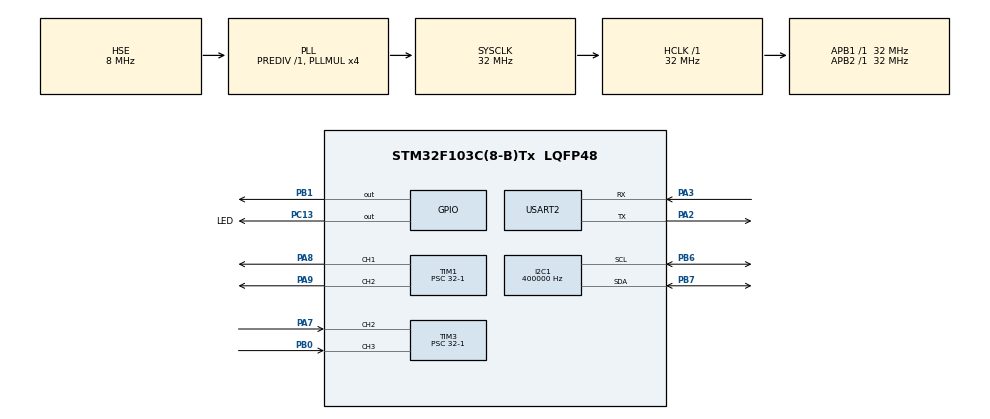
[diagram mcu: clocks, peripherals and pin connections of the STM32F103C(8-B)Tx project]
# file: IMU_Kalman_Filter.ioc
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Mcu.Family=STM32F1
RCC.PLLSourceVirtual=RCC_PLLSOURCE_HSE
PD1-OSC_OUT.Mode=HSE-External-Oscillator
TIM3.Channel-Input_Capture2_from_TI2=TIM_CHANNEL_2
PC13-TAMPER-RTC.Signal=GPIO_Output
PD0-OSC_IN.Signal=RCC_OSC_IN
SH.S_TIM3_CH3.0=TIM3_CH3,Input_Capture3_from_TI3
RCC.SYSCLKSource=RCC_SYSCLKSOURCE_PLLCLK
ProjectManager.StackSize=0x400
PD1-OSC_OUT.Signal=RCC_OSC_OUT
PA13.Signal=SYS_JTMS-SWDIO
PA3.Mode=Asynchronous
TIM3.Channel-Input_Capture3_from_TI3=TIM_CHANNEL_3
TIM1.Prescaler=32-1
SH.S_TIM1_CH1.0=TIM1_CH1,PWM Generation1 CH1
I2C1.ClockSpeed=400000
ProjectManager.TargetToolchain=STM32CubeIDE
I2C1.I2C_Mode=I2C_Fast
RCC.HCLKFreq_Value=32000000
RCC.APB2TimFreq_Value=32000000
TIM3.Period=0xffff
PA9.Signal=S_TIM1_CH2
PB6.Signal=I2C1_SCL
TIM1.Channel-PWM\ Generation2\ CH2=TIM_CHANNEL_2
PB6.Mode=I2C
RCC.USBFreq_Value=32000000
RCC.AHBFreq_Value=32000000
PD0-OSC_IN.Mode=HSE-External-Oscillator
SH.S_TIM3_CH2.1=TIM3_CH2,Input_Capture2_from_TI2
SH.S_TIM3_CH2.0=TIM3_CH2,TriggerSource_TI2FP2
board=custom
PC13-TAMPER-RTC.GPIO_Label=LED
RCC.PLLMUL=RCC_PLL_MUL4
NVIC.TIM3_IRQn=true\:0\:0\:false\:false\:true\:true\:true
RCC.APB2Freq_Value=32000000
SH.S_TIM1_CH2.0=TIM1_CH2,PWM Generation2 CH2
VP_TIM2_VS_ClockSourceINT.Mode=Internal
TIM1.Channel-PWM\ Generation1\ CH1=TIM_CHANNEL_1
PA14.Mode=Serial_Wire
TIM3.Prescaler=32-1
NVIC.TIM2_IRQn=true\:0\:0\:false\:false\:true\:true\:true
TIM3.ICPolarity_CH2=TIM_INPUTCHANNELPOLARITY_RISING
TIM3.ICPolarity_CH3=TIM_INPUTCHANNELPOLARITY_FALLING
PB7.Signal=I2C1_SDA
PA8.Signal=S_TIM1_CH1
TIM2.Period=1000
PA13.Mode=Serial_Wire
Mcu.Name=STM32F103C(8-B)Tx
PA2.Signal=USART2_TX
RCC.SYSCLKFreq_VALUE=32000000
Mcu.Package=LQFP48
TIM2.Prescaler=32-1
PB1.Signal=GPIO_Output
USART2.VirtualMode=VM_ASYNC
PB7.Mode=I2C
PA14.Signal=SYS_JTCK-SWCLK
ProjectManager.HeapSize=0x200
NVIC.PriorityGroup=NVIC_PRIORITYGROUP_4
RCC.APB1TimFreq_Value=32000000
TIM3.ICFilter_CH3=0
PA2.Mode=Asynchronous
TIM3.ICFilter_CH2=0
TIM1.Period=20000-1
VP_TIM3_VS_ControllerModeReset.Mode=Reset Mode
RCC.APB1Freq_Value=32000000
PB0.Signal=S_TIM3_CH3
PA3.Signal=USART2_RX
PA7.Signal=S_TIM3_CH2

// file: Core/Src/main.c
/* USER CODE BEGIN Header */
/**
  ******************************************************************************
  * @file           : main.c
  * @brief          : Main program body
  ******************************************************************************
  * @attention
  *
  * <h2><center>&copy; Copyright (c) 2021 STMicroelectronics.
  * All rights reserved.</center></h2>
  *
  * This software component is licensed by ST under BSD 3-Clause license,
  * the "License"; You may not use this file except in compliance with the
  * License. You may obtain a copy of the License at:
  *                        opensource.org/licenses/BSD-3-Clause
  *
  ******************************************************************************
  */
/* USER CODE END Header */
#include "main.h"

/* USER CODE BEGIN Includes */
#include<math.h>
#include "string.h"
#include <stdio.h>

/* USER CODE END Includes */

/* USER CODE BEGIN PM */
#define MPU6050 (0x68<<1)
#define MPU6050_POW_REG 0x6b
#define GYRO_CONF_REG 0x1b
#define ACC_CONF_REG 0x1c
#define GYRO_X_ADDR 0x43
#define GYRO_Y_ADDR 0x45
#define GYRO_Z_ADDR 0x47
#define ACC_X_ADDR 0x3B
#define ACC_Y_ADDR 0x3D
#define ACC_Z_ADDR 0x3F

#define I2C_READ 0x01

#define PWM_UPPER 1800
#define PWM_LOWER 1050

/* USER CODE END PM */

I2C_HandleTypeDef hi2c1;

TIM_HandleTypeDef htim1;
TIM_HandleTypeDef htim2;
TIM_HandleTypeDef htim3;

UART_HandleTypeDef huart2;

/* USER CODE BEGIN PV */
float gyroX, gyroY, gyroZ, gyro_e_x, gyroX_a,gyroX_a_x, accX, accY, accZ;
float pitch_acc;
float gyroa_x, gyroa_y, gyroa_z;
float alpha, bias;
float alpha_des;
float S11_m, S12_m, S21_m, S22_m;
float S11_p, S12_p, S21_p, S22_p;
float Kt11, Kt21;
float sa = 0.001; float sb = 0.001;
float Q = 0.5; //0.5 -- onceki deger.
float e, e_eski; //PID hatalari

const float st = 0.001;
//PD Katsayilari
float Kp = 4;
float Kd =  1.2/st;
int timer;
uint16_t IC_val1, IC_val2, pwm_input;
uint16_t pwm1, pwm2;
uint16_t pwm_mid = 1200;
char buf[32];

/* USER CODE END PV */

void SystemClock_Config(void);
static void MX_GPIO_Init(void);
static void MX_I2C1_Init(void);
static void MX_TIM2_Init(void);
static void MX_TIM1_Init(void);
static void MX_TIM3_Init(void);
static void MX_USART2_UART_Init(void);
/* USER CODE BEGIN PFP */
void MPU6050_Baslat(void);
int16_t GyroOku (uint8_t addr);
float GyroErr(uint8_t addr);
void Kalman_Filtresi(void);
void PWMYaz(uint16_t pwm1, uint16_t pwm2);
void PD(float alpha_des, float alpha);
uint16_t Sat(uint16_t pwm);
float pwm2ang(uint16_t pwm);
void MotorBaslat(void);

/* USER CODE END PFP */

int main(void)
{

  /* MCU Configuration--------------------------------------------------------*/

  /* Reset of all peripherals, Initializes the Flash interface and the Systick. */
  HAL_Init();

  /* Configure the system clock */
  SystemClock_Config();

  /* Initialize all configured peripherals */
  MX_GPIO_Init();
  MX_I2C1_Init();
  MX_TIM2_Init();
  MX_TIM1_Init();
  MX_TIM3_Init();
  MX_USART2_UART_Init();
  /* USER CODE BEGIN 2 */

  MPU6050_Baslat();
  //Gyro kalibrasyon hatalarını hesapla.
  gyro_e_x = GyroErr(GYRO_X_ADDR);

  //Kontrolcü Timer'ı
  HAL_TIM_Base_Start_IT(&htim2);

  //PWM çıkış timer'ları
  HAL_TIM_PWM_Start(&htim1, TIM_CHANNEL_1);
  HAL_TIM_PWM_Start(&htim1, TIM_CHANNEL_2);

  //PWM Input Capture Kanalları
  HAL_TIM_IC_Start_IT(&htim3, TIM_CHANNEL_2);
  HAL_TIM_IC_Start_IT(&htim3, TIM_CHANNEL_3);

  MotorBaslat();
  /* USER CODE END 2 */

  /* Infinite loop */
  /* USER CODE BEGIN WHILE */
  while (1)
  {

	 // sprintf(buf,"%.3f||%.3f \n\r",alpha,pitch_acc);
	 // HAL_UART_Transmit(&huart2, (uint8_t*)buf, strlen(buf), 1000);
	  PWMYaz(pwm1, pwm2);
	  HAL_Delay(1);

    /* USER CODE END WHILE */

  }
}

void SystemClock_Config(void)
{
  RCC_OscInitTypeDef RCC_OscInitStruct = {0};
  RCC_ClkInitTypeDef RCC_ClkInitStruct = {0};

  /** Initializes the RCC Oscillators according to the specified parameters
  * in the RCC_OscInitTypeDef structure.
  */
  RCC_OscInitStruct.OscillatorType = RCC_OSCILLATORTYPE_HSE;
  RCC_OscInitStruct.HSEState = RCC_HSE_ON;
  RCC_OscInitStruct.HSEPredivValue = RCC_HSE_PREDIV_DIV1;
  RCC_OscInitStruct.HSIState = RCC_HSI_ON;
  RCC_OscInitStruct.PLL.PLLState = RCC_PLL_ON;
  RCC_OscInitStruct.PLL.PLLSource = RCC_PLLSOURCE_HSE;
  RCC_OscInitStruct.PLL.PLLMUL = RCC_PLL_MUL4;
  if (HAL_RCC_OscConfig(&RCC_OscInitStruct) != HAL_OK)
  {
    Error_Handler();
  }
  /** Initializes the CPU, AHB and APB buses clocks
  */
  RCC_ClkInitStruct.ClockType = RCC_CLOCKTYPE_HCLK|RCC_CLOCKTYPE_SYSCLK
                              |RCC_CLOCKTYPE_PCLK1|RCC_CLOCKTYPE_PCLK2;
  RCC_ClkInitStruct.SYSCLKSource = RCC_SYSCLKSOURCE_PLLCLK;
  RCC_ClkInitStruct.AHBCLKDivider = RCC_SYSCLK_DIV1;
  RCC_ClkInitStruct.APB1CLKDivider = RCC_HCLK_DIV1;
  RCC_ClkInitStruct.APB2CLKDivider = RCC_HCLK_DIV1;

  if (HAL_RCC_ClockConfig(&RCC_ClkInitStruct, FLASH_LATENCY_1) != HAL_OK)
  {
    Error_Handler();
  }
}

static void MX_I2C1_Init(void)
{

  hi2c1.Instance = I2C1;
  hi2c1.Init.ClockSpeed = 400000;
  hi2c1.Init.DutyCycle = I2C_DUTYCYCLE_2;
  hi2c1.Init.OwnAddress1 = 0;
  hi2c1.Init.AddressingMode = I2C_ADDRESSINGMODE_7BIT;
  hi2c1.Init.DualAddressMode = I2C_DUALADDRESS_DISABLE;
  hi2c1.Init.OwnAddress2 = 0;
  hi2c1.Init.GeneralCallMode = I2C_GENERALCALL_DISABLE;
  hi2c1.Init.NoStretchMode = I2C_NOSTRETCH_DISABLE;
  if (HAL_I2C_Init(&hi2c1) != HAL_OK)
  {
    Error_Handler();
  }

}

static void MX_TIM1_Init(void)
{

  TIM_MasterConfigTypeDef sMasterConfig = {0};
  TIM_OC_InitTypeDef sConfigOC = {0};
  TIM_BreakDeadTimeConfigTypeDef sBreakDeadTimeConfig = {0};

  htim1.Instance = TIM1;
  htim1.Init.Prescaler = 32-1;
  htim1.Init.CounterMode = TIM_COUNTERMODE_UP;
  htim1.Init.Period = 20000-1;
  htim1.Init.ClockDivision = TIM_CLOCKDIVISION_DIV1;
  htim1.Init.RepetitionCounter = 0;
  htim1.Init.AutoReloadPreload = TIM_AUTORELOAD_PRELOAD_DISABLE;
  if (HAL_TIM_PWM_Init(&htim1) != HAL_OK)
  {
    Error_Handler();
  }
  sMasterConfig.MasterOutputTrigger = TIM_TRGO_RESET;
  sMasterConfig.MasterSlaveMode = TIM_MASTERSLAVEMODE_DISABLE;
  if (HAL_TIMEx_MasterConfigSynchronization(&htim1, &sMasterConfig) != HAL_OK)
  {
    Error_Handler();
  }
  sConfigOC.OCMode = TIM_OCMODE_PWM1;
  sConfigOC.Pulse = 0;
  sConfigOC.OCPolarity = TIM_OCPOLARITY_HIGH;
  sConfigOC.OCNPolarity = TIM_OCNPOLARITY_HIGH;
  sConfigOC.OCFastMode = TIM_OCFAST_DISABLE;
  sConfigOC.OCIdleState = TIM_OCIDLESTATE_RESET;
  sConfigOC.OCNIdleState = TIM_OCNIDLESTATE_RESET;
  if (HAL_TIM_PWM_ConfigChannel(&htim1, &sConfigOC, TIM_CHANNEL_1) != HAL_OK)
  {
    Error_Handler();
  }
  if (HAL_TIM_PWM_ConfigChannel(&htim1, &sConfigOC, TIM_CHANNEL_2) != HAL_OK)
  {
    Error_Handler();
  }
  sBreakDeadTimeConfig.OffStateRunMode = TIM_OSSR_DISABLE;
  sBreakDeadTimeConfig.OffStateIDLEMode = TIM_OSSI_DISABLE;
  sBreakDeadTimeConfig.LockLevel = TIM_LOCKLEVEL_OFF;
  sBreakDeadTimeConfig.DeadTime = 0;
  sBreakDeadTimeConfig.BreakState = TIM_BREAK_DISABLE;
  sBreakDeadTimeConfig.BreakPolarity = TIM_BREAKPOLARITY_HIGH;
  sBreakDeadTimeConfig.AutomaticOutput = TIM_AUTOMATICOUTPUT_DISABLE;
  if (HAL_TIMEx_ConfigBreakDeadTime(&htim1, &sBreakDeadTimeConfig) != HAL_OK)
  {
    Error_Handler();
  }
  HAL_TIM_MspPostInit(&htim1);

}

static void MX_TIM2_Init(void)
{

  TIM_ClockConfigTypeDef sClockSourceConfig = {0};
  TIM_MasterConfigTypeDef sMasterConfig = {0};

  htim2.Instance = TIM2;
  htim2.Init.Prescaler = 32-1;
  htim2.Init.CounterMode = TIM_COUNTERMODE_UP;
  htim2.Init.Period = 1000;
  htim2.Init.ClockDivision = TIM_CLOCKDIVISION_DIV1;
  htim2.Init.AutoReloadPreload = TIM_AUTORELOAD_PRELOAD_DISABLE;
  if (HAL_TIM_Base_Init(&htim2) != HAL_OK)
  {
    Error_Handler();
  }
  sClockSourceConfig.ClockSource = TIM_CLOCKSOURCE_INTERNAL;
  if (HAL_TIM_ConfigClockSource(&htim2, &sClockSourceConfig) != HAL_OK)
  {
    Error_Handler();
  }
  sMasterConfig.MasterOutputTrigger = TIM_TRGO_RESET;
  sMasterConfig.MasterSlaveMode = TIM_MASTERSLAVEMODE_DISABLE;
  if (HAL_TIMEx_MasterConfigSynchronization(&htim2, &sMasterConfig) != HAL_OK)
  {
    Error_Handler();
  }

}

static void MX_TIM3_Init(void)
{

  TIM_SlaveConfigTypeDef sSlaveConfig = {0};
  TIM_MasterConfigTypeDef sMasterConfig = {0};
  TIM_IC_InitTypeDef sConfigIC = {0};

  htim3.Instance = TIM3;
  htim3.Init.Prescaler = 32-1;
  htim3.Init.CounterMode = TIM_COUNTERMODE_UP;
  htim3.Init.Period = 0xffff;
  htim3.Init.ClockDivision = TIM_CLOCKDIVISION_DIV1;
  htim3.Init.AutoReloadPreload = TIM_AUTORELOAD_PRELOAD_DISABLE;
  if (HAL_TIM_Base_Init(&htim3) != HAL_OK)
  {
    Error_Handler();
  }
  if (HAL_TIM_IC_Init(&htim3) != HAL_OK)
  {
    Error_Handler();
  }
  sSlaveConfig.SlaveMode = TIM_SLAVEMODE_RESET;
  sSlaveConfig.InputTrigger = TIM_TS_TI2FP2;
  sSlaveConfig.TriggerPolarity = TIM_INPUTCHANNELPOLARITY_RISING;
  sSlaveConfig.TriggerFilter = 0;
  if (HAL_TIM_SlaveConfigSynchro(&htim3, &sSlaveConfig) != HAL_OK)
  {
    Error_Handler();
  }
  sMasterConfig.MasterOutputTrigger = TIM_TRGO_RESET;
  sMasterConfig.MasterSlaveMode = TIM_MASTERSLAVEMODE_DISABLE;
  if (HAL_TIMEx_MasterConfigSynchronization(&htim3, &sMasterConfig) != HAL_OK)
  {
    Error_Handler();
  }
  sConfigIC.ICPolarity = TIM_INPUTCHANNELPOLARITY_RISING;
  sConfigIC.ICSelection = TIM_ICSELECTION_DIRECTTI;
  sConfigIC.ICPrescaler = TIM_ICPSC_DIV1;
  sConfigIC.ICFilter = 0;
  if (HAL_TIM_IC_ConfigChannel(&htim3, &sConfigIC, TIM_CHANNEL_2) != HAL_OK)
  {
    Error_Handler();
  }
  sConfigIC.ICPolarity = TIM_INPUTCHANNELPOLARITY_FALLING;
  if (HAL_TIM_IC_ConfigChannel(&htim3, &sConfigIC, TIM_CHANNEL_3) != HAL_OK)
  {
    Error_Handler();
  }

}

static void MX_USART2_UART_Init(void)
{

  huart2.Instance = USART2;
  huart2.Init.BaudRate = 115200;
  huart2.Init.WordLength = UART_WORDLENGTH_8B;
  huart2.Init.StopBits = UART_STOPBITS_1;
  huart2.Init.Parity = UART_PARITY_NONE;
  huart2.Init.Mode = UART_MODE_TX_RX;
  huart2.Init.HwFlowCtl = UART_HWCONTROL_NONE;
  huart2.Init.OverSampling = UART_OVERSAMPLING_16;
  if (HAL_UART_Init(&huart2) != HAL_OK)
  {
    Error_Handler();
  }

}

static void MX_GPIO_Init(void)
{
  GPIO_InitTypeDef GPIO_InitStruct = {0};

  /* GPIO Ports Clock Enable */
  __HAL_RCC_GPIOC_CLK_ENABLE();
  __HAL_RCC_GPIOD_CLK_ENABLE();
  __HAL_RCC_GPIOA_CLK_ENABLE();
  __HAL_RCC_GPIOB_CLK_ENABLE();

  /*Configure GPIO pin Output Level */
  HAL_GPIO_WritePin(LED_GPIO_Port, LED_Pin, GPIO_PIN_RESET);

  /*Configure GPIO pin Output Level */
  HAL_GPIO_WritePin(GPIOB, GPIO_PIN_1, GPIO_PIN_RESET);

  /*Configure GPIO pin : LED_Pin */
  GPIO_InitStruct.Pin = LED_Pin;
  GPIO_InitStruct.Mode = GPIO_MODE_OUTPUT_PP;
  GPIO_InitStruct.Pull = GPIO_NOPULL;
  GPIO_InitStruct.Speed = GPIO_SPEED_FREQ_LOW;
  HAL_GPIO_Init(LED_GPIO_Port, &GPIO_InitStruct);

  /*Configure GPIO pin : PB1 */
  GPIO_InitStruct.Pin = GPIO_PIN_1;
  GPIO_InitStruct.Mode = GPIO_MODE_OUTPUT_PP;
  GPIO_InitStruct.Pull = GPIO_NOPULL;
  GPIO_InitStruct.Speed = GPIO_SPEED_FREQ_LOW;
  HAL_GPIO_Init(GPIOB, &GPIO_InitStruct);

}

/* USER CODE BEGIN 4 */
void MPU6050_Baslat(void) {
	uint8_t config = 0x00;
	HAL_I2C_Mem_Write(&hi2c1, (uint16_t)MPU6050, MPU6050_POW_REG, 1, &config, 1, 5); //Güç registerını aktif et
	config = 0x08;
	HAL_I2C_Mem_Write(&hi2c1, (uint16_t)MPU6050, GYRO_CONF_REG, 1, &config, 1, 5); //Gyro 500 d/s'ye ayarlandi.
	config = 0x10;
	HAL_I2C_Mem_Write(&hi2c1, (uint16_t)MPU6050, ACC_CONF_REG, 1, &config, 1, 5); //Acc +-8g'ye ayarlandi.
}

int16_t GyroOku (uint8_t addr) {
	uint8_t gyro_data[2];
	HAL_I2C_Mem_Read(&hi2c1, (uint16_t)MPU6050 | I2C_READ, addr, 1, gyro_data, 2, 1);
	int16_t gyro = gyro_data[0]<<8 | gyro_data[1];
	return gyro;
}

float GyroErr(uint8_t addr) {
	float GyroXe=0;
	//2000 ornek al ve kayma degerini kaydet.
	for (int i=0; i<2000; i++)
	{
		GyroXe += (float)GyroOku(addr);

		} //Haberleşmeyi durdur.
	GyroXe=GyroXe/2000; //Son okunan değeri 2000'e böl.
	return GyroXe;
}

void Kalman_Filtresi(void) {

	//**Tahmin**
	alpha = alpha - bias*st + gyroX*st;
	S11_m = 2*sa+st*st*sb; S12_m=-st*sb;
	S21_m = -st*sb; 	   S22_m=2*sb;

	//**Düzeltme**
	Kt11 = S11_m / (S11_m+Q);
	Kt21 = S21_m / (S21_m+Q);

	alpha = alpha - Kt11*(alpha-pitch_acc);
	bias = bias - Kt21*(alpha-pitch_acc);

	S11_p = -S11_m*(Kt11-1);  S12_p = -S12_m*(Kt11-1);
	S21_p = S21_m-S11_m*Kt21; S22_p = S22_m-S12_m*Kt21;

	S11_m = S11_p; S12_m = S12_p; S21_m = S21_p; S22_m = S22_p;
}

void PWMYaz(uint16_t pwm1, uint16_t pwm2) {
	  __HAL_TIM_SET_COMPARE(&htim1,TIM_CHANNEL_1,pwm1);
	  __HAL_TIM_SET_COMPARE(&htim1,TIM_CHANNEL_2,pwm2);
}

void PD(float alpha_des, float alpha) {
	float P, D, pd,de;
	e_eski = e;
	e = alpha_des - alpha;
	de = e - e_eski;
	P = Kp*e; D = Kd*de;
	pd = P + D;
	pwm1 = Sat((uint16_t)(pwm_mid + pd)+150);
	pwm2 = Sat((uint16_t)(pwm_mid - pd));

}

uint16_t Sat(uint16_t pwm) {
	uint16_t pwm_out;
	if(pwm > PWM_UPPER) {
		pwm_out = PWM_UPPER;
	}

	else if (pwm < PWM_LOWER) {
		pwm_out = PWM_LOWER;
	}

	else {
		pwm_out = pwm;
	}

	return pwm_out;
}

float pwm2ang(uint16_t pwm) {
	int16_t in_min  = 1000;
	int16_t in_max  = 2000;
	int16_t out_min = -30;
	int16_t out_max  = 30;

	return (pwm - in_min) * (out_max - out_min) / (in_max - in_min) + out_min;
}

void MotorBaslat(void) {
	PWMYaz(1000,1000);
	HAL_Delay(1000);
}

void HAL_TIM_PeriodElapsedCallback (TIM_HandleTypeDef * htim) {

	if(htim == &htim2) {

		  gyroX = (GyroOku(GYRO_X_ADDR))/65.5;
		  //gyroX_a_x = (GyroOku(GYRO_X_ADDR)-gyro_e_x)/65.5;
		  //gyroX_a += gyroX_a_x * st;

		  //İvmeölçer degerlerini oku
		  accX = GyroOku(ACC_X_ADDR);
		  accY = GyroOku(ACC_Y_ADDR);
		  accZ = GyroOku(ACC_Z_ADDR);

		  float acctop=sqrt(accX*accX+accY*accY+accZ*accZ);		//Toplam ivme
		  pitch_acc=asin(accY/acctop)*57.324;					//İvme ölçerden hesaplanan pitch açısı

		  Kalman_Filtresi();
		  alpha_des = pwm2ang(pwm_input);
		 // alpha_des = 0;
		  PD(alpha_des,alpha);
		  HAL_GPIO_TogglePin(GPIOB, GPIO_PIN_1);

	}
}

void HAL_TIM_IC_CaptureCallback (TIM_HandleTypeDef * htim) {
	if(htim == &htim3) {

	if(htim->Channel == HAL_TIM_ACTIVE_CHANNEL_2) { //Yükselen kanal
		IC_val1 = HAL_TIM_ReadCapturedValue(htim, TIM_CHANNEL_2);

		if(IC_val1 != 0) { //alçalan kanal
			IC_val2  = HAL_TIM_ReadCapturedValue(htim, TIM_CHANNEL_3);
			pwm_input = IC_val2;
		}
	}

}

}

/* USER CODE END 4 */

void Error_Handler(void)
{
  __disable_irq();
  while (1)
  {
  }
}

/************************ (C) COPYRIGHT STMicroelectronics *****END OF FILE****/
